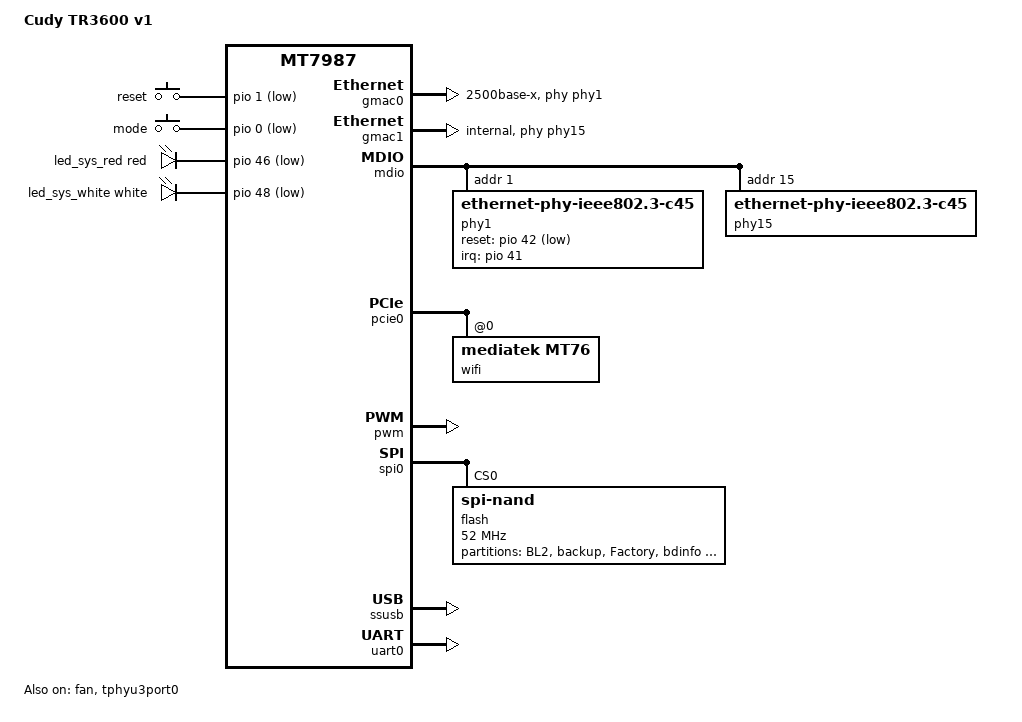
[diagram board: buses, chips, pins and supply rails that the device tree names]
// SPDX-License-Identifier: (GPL-2.0 OR MIT)

/dts-v1/;
#include "mt7987b.dtsi"
#include <dt-bindings/input/input.h>
#include <dt-bindings/leds/common.h>

/ {
	model = "Cudy TR3600 v1";
	compatible = "cudy,tr3600-v1", "mediatek,mt7987";

	aliases {
		led-boot = &led_sys_red;
		led-failsafe = &led_sys_red;
		led-running = &led_sys_white;
		led-upgrade = &led_sys_white;
		label-mac-device = &gmac1;
	};

	chosen {
		stdout-path = "serial0:115200n8";
		bootargs = "console=ttyS0,115200n1 earlycon=uart8250,mmio32,0x11000000";
	};

	keys {
		compatible = "gpio-keys";

		reset {
			label = "reset";
			linux,code = <KEY_RESTART>;
			gpios = <&pio 1 GPIO_ACTIVE_LOW>;
			debounce-interval = <10>;
		};

		mode {
			label = "mode";
			linux,code = <BTN_0>;
			linux,input-type = <EV_SW>;
			gpios = <&pio 0 GPIO_ACTIVE_LOW>;
			debounce-interval = <10>;
		};
	};

	leds {
		compatible = "gpio-leds";

		led_sys_red: led-0 {
			function = LED_FUNCTION_STATUS;
			color = <LED_COLOR_ID_RED>;
			gpios = <&pio 46 GPIO_ACTIVE_LOW>;
		};

		led_sys_white: led-1 {
			function = LED_FUNCTION_STATUS;
			color = <LED_COLOR_ID_WHITE>;
			gpios = <&pio 48 GPIO_ACTIVE_LOW>;
		};
	};
};

&fan {
	pwms = <&pwm 0 50000 0>;
	status = "okay";
};

&gmac0 {
	nvmem-cell-names = "mac-address";
	nvmem-cells = <&macaddr_bdinfo_de00 1>;

	phy-mode = "2500base-x";
	phy-handle = <&phy1>;
	status = "okay";
};

&gmac1 {
	nvmem-cell-names = "mac-address";
	nvmem-cells = <&macaddr_bdinfo_de00 0>;

	phy-mode = "internal";
	phy-handle = <&phy15>;
	status = "okay";
};

&mdio {
	phy1: phy@1 {
		compatible = "ethernet-phy-ieee802.3-c45";
		reg = <1>;
		reset-assert-us = <100000>;
		reset-deassert-us = <100000>;
		reset-gpios = <&pio 42 GPIO_ACTIVE_LOW>;
		interrupts = <41 IRQ_TYPE_LEVEL_LOW>;
		interrupt-parent = <&pio>;
	};

	phy15: phy@15 {
		compatible = "ethernet-phy-ieee802.3-c45";
		reg = <15>;
	};
};

&pcie0 {
	pinctrl-names = "default";
	pinctrl-0 = <&pcie0_pins>;
	status = "okay";

	pcie@0,0 {
		reg = <0x0000 0 0 0 0>;
		device_type = "pci";
		#address-cells = <3>;
		#size-cells = <2>;

		wifi@0,0 {
			compatible = "mediatek,mt76";
			reg = <0x0000 0 0 0 0>;

			nvmem-cells = <&eeprom_factory_0>;
			nvmem-cell-names = "eeprom";

			#address-cells = <1>;
			#size-cells = <0>;

			band@0 {
				reg = <0>;
				nvmem-cells = <&macaddr_bdinfo_de00 0>;
				nvmem-cell-names = "mac-address";
			};

			band@1 {
				reg = <1>;
				nvmem-cells = <&macaddr_bdinfo_de00 2>;
				nvmem-cell-names = "mac-address";
			};
		};
	};
};

&pwm {
	pinctrl-names = "default";
	pinctrl-0 = <&pwm_pins>;
	status = "okay";
};

&spi0 {
	pinctrl-names = "default";
	pinctrl-0 = <&spi0_flash_pins>;
	status = "okay";

	flash@0 {
		compatible = "spi-nand";
		reg = <0>;

		spi-max-frequency = <52000000>;
		spi-tx-bus-width = <4>;
		spi-rx-bus-width = <4>;

		mediatek,nmbm;
		mediatek,bmt-max-ratio = <1>;
		mediatek,bmt-max-reserved-blocks = <64>;

		partitions {
			compatible = "fixed-partitions";
			#address-cells = <1>;
			#size-cells = <1>;

			partition@0 {
				label = "BL2";
				reg = <0x000000 0x0100000>;
				read-only;
			};

			partition@100000 {
				label = "backup";
				reg = <0x100000 0x0080000>;
			};

			partition@180000 {
				label = "Factory";
				reg = <0x180000 0x0400000>;
				read-only;

				nvmem-layout {
					compatible = "fixed-layout";
					#address-cells = <1>;
					#size-cells = <1>;

					eeprom_factory_0: eeprom@0 {
						reg = <0x0 0x1e00>;
					};
				};
			};

			partition@580000 {
				label = "bdinfo";
				reg = <0x580000 0x0040000>;
				read-only;

				nvmem-layout {
					compatible = "fixed-layout";
					#address-cells = <1>;
					#size-cells = <1>;

					macaddr_bdinfo_de00: macaddr@de00 {
						compatible = "mac-base";
						reg = <0xde00 0x6>;
						#nvmem-cell-cells = <1>;
					};
				};
			};

			partition@5c0000 {
				label = "FIP";
				reg = <0x5c0000 0x0200000>;
				read-only;
			};

			partition@7c0000 {
				label = "ubi";
				reg = <0x7c0000 0xe840000>;
				compatible = "linux,ubi";
			};
		};
	};
};

&ssusb {
	status = "okay";
};

&tphyu3port0 {
	status = "okay";
};

&uart0 {
	pinctrl-names = "default";
	pinctrl-0 = <&uart0_pins>;
	status = "okay";
};
